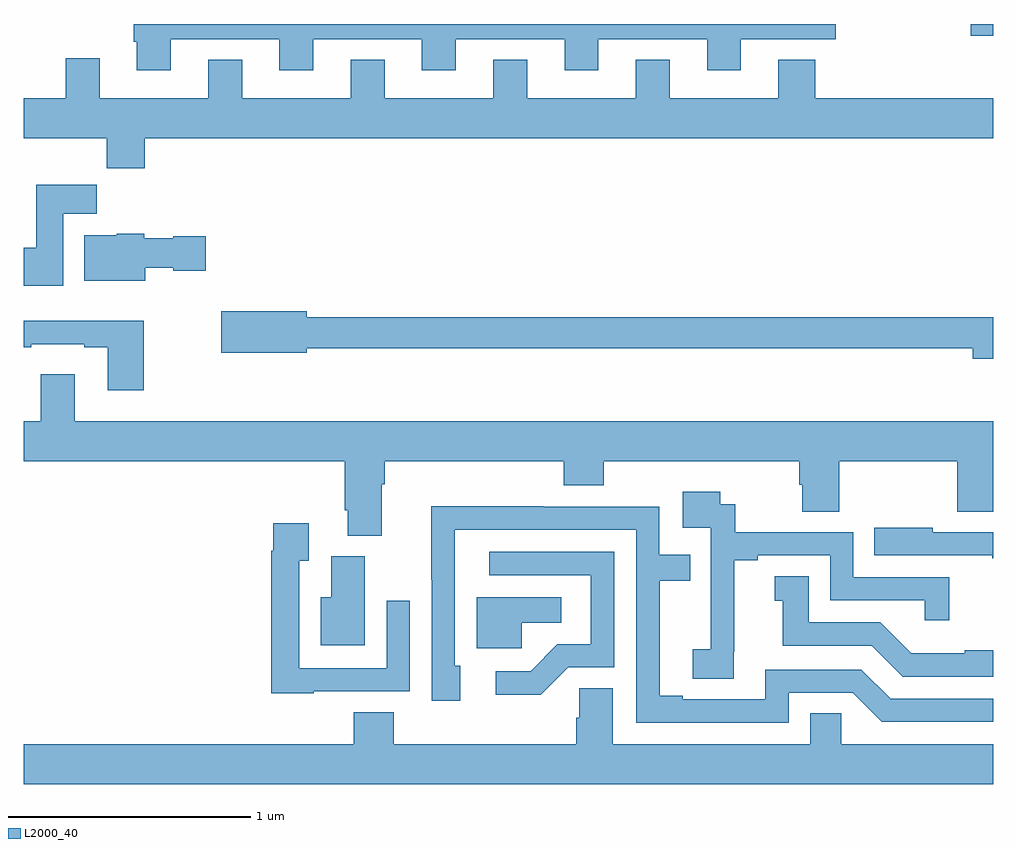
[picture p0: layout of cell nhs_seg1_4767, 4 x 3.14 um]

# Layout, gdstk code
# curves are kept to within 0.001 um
import gdstk
lib = gdstk.Library(unit=1e-6, precision=1e-09)
def R(c, l, rs):  # rectangles x0, y0, x1, y1
    for r in rs: c.add(gdstk.rectangle(r[:2], r[2:], *l))
def P(c, l, *ps):  # polygons
    for p in ps: c.add(gdstk.Polygon(p, *l))
L2000_40 = (2000, 40)

nhs_seg1_4767 = lib.new_cell('nhs_seg1_4767')
R(nhs_seg1_4767, L2000_40, [(372.906,556.151,373,556.199)])
P(nhs_seg1_4767, L2000_40, [(369.607,556.137),(370.055,556.137),(370.055,556.008),(370.195,556.008),(370.195,556.137),(370.643,556.137),(370.643,556.008),(370.783,556.008),(370.783,556.137),(371.231,556.137),(371.231,556.008),(371.371,556.008),(371.371,556.137),(371.819,556.137),(371.819,556.008),(371.959,556.008),(371.959,556.136),(372.349,556.136),(372.349,556.199),(369.455,556.199),(369.455,556.125),(369.467,556.125),(369.467,556.008),(369.607,556.008)],
  [(369.5,555.728),(373,555.728),(373,555.892),(372.266,555.892),(372.266,556.051),(372.113,556.051),(372.113,555.892),(371.665,555.892),(371.665,556.052),(371.525,556.052),(371.525,555.892),(371.077,555.892),(371.077,556.052),(370.937,556.052),(370.937,555.892),(370.489,555.892),(370.489,556.052),(370.349,556.052),(370.349,555.892),(369.901,555.892),(369.901,556.052),(369.761,556.052),(369.761,555.892),(369.313,555.892),(369.313,556.057),(369.173,556.057),(369.173,555.892),(369,555.892),(369,555.728),(369.343,555.728),(369.343,555.604),(369.5,555.604)],
  [(369.163,555.416),(369.302,555.416),(369.302,555.535),(369.053,555.535),(369.053,555.276),(369,555.276),(369,555.12),(369.163,555.12)],
  [(369.502,555.194),(369.618,555.194),(369.618,555.182),(369.751,555.182),(369.751,555.324),(369.618,555.324),(369.618,555.316),(369.498,555.316),(369.498,555.334),(369.384,555.334),(369.384,555.328),(369.251,555.328),(369.251,555.14),(369.502,555.14)],
  [(373,554.99),(370.168,554.99),(370.168,555.014),(369.816,555.014),(369.816,554.843),(370.168,554.843),(370.168,554.862),(372.914,554.862),(372.914,554.819),(373,554.819)],
  [(369.495,554.974),(369,554.974),(369,554.865),(369.031,554.865),(369.031,554.877),(369.251,554.877),(369.251,554.865),(369.347,554.865),(369.347,554.688),(369.495,554.688)],
  [(369.211,554.755),(369.071,554.755),(369.071,554.56),(369,554.56),(369,554.396),(370.325,554.396),(370.325,554.194),(370.337,554.194),(370.337,554.089),(370.477,554.089),(370.477,554.3),(370.49,554.3),(370.49,554.396),(371.228,554.396),(371.228,554.297),(371.393,554.297),(371.393,554.396),(372.2,554.396),(372.2,554.298),(372.212,554.298),(372.212,554.188),(372.365,554.188),(372.365,554.396),(372.851,554.396),(372.851,554.188),(373,554.188),(373,554.56),(369.211,554.56)],
  [(371.93,553.609),(371.932,553.609),(371.932,553.987),(372.028,553.987),(372.028,554.007),(372.327,554.007),(372.327,553.821),(372.717,553.821),(372.717,553.74),(372.818,553.74),(372.818,553.917),(372.423,553.917),(372.423,554.103),(371.936,554.103),(371.936,554.217),(371.874,554.217),(371.874,554.269),(371.718,554.269),(371.718,554.121),(371.835,554.121),(371.835,553.817),(371.834,553.817),(371.834,553.62),(371.76,553.62),(371.76,553.498),(371.93,553.498)],
  [(372.156,553.44),(372.42,553.44),(372.54,553.32),(373,553.32),(373,553.416),(372.576,553.416),(372.456,553.536),(372.06,553.536),(372.06,553.413),(371.719,553.413),(371.719,553.428),(371.623,553.428),(371.623,553.902),(371.75,553.902),(371.75,554.01),(371.622,554.01),(371.622,554.208),(371.144,554.208),(371.144,554.21),(370.682,554.21),(370.683,553.407),(370.801,553.407),(370.801,553.551),(370.779,553.551),(370.779,554.112),(371.526,554.112),(371.526,553.317),(372.156,553.317)],
  [(370.197,553.446),(370.593,553.446),(370.593,553.819),(370.497,553.819),(370.497,553.542),(370.137,553.542),(370.137,553.984),(370.177,553.984),(370.177,554.14),(370.029,554.14),(370.029,554.027),(370.021,554.027),(370.021,553.439),(370.197,553.439)],
  [(373,554.103),(372.751,554.103),(372.751,554.122),(372.508,554.122),(372.508,554.007),(372.995,554.007),(372.995,553.995),(373,553.995)],
  [(371.247,553.545),(371.436,553.545),(371.436,554.022),(370.92,554.022),(370.92,553.926),(371.34,553.926),(371.34,553.641),(371.202,553.641),(371.091,553.53),(370.947,553.53),(370.947,553.433),(371.134,553.433)],
  [(370.408,554.004),(370.268,554.004),(370.268,553.834),(370.226,553.834),(370.226,553.637),(370.408,553.637)],
  [(373,553.615),(372.881,553.615),(372.881,553.603),(372.662,553.603),(372.534,553.731),(372.238,553.731),(372.238,553.922),(372.098,553.922),(372.098,553.819),(372.131,553.819),(372.131,553.635),(372.498,553.635),(372.627,553.506),(373,553.506)],
  [(371.055,553.73),(371.218,553.73),(371.218,553.834),(370.868,553.834),(370.868,553.623),(371.055,553.623)],
  [(373,553.228),(372.372,553.228),(372.372,553.355),(372.245,553.355),(372.245,553.228),(371.431,553.228),(371.431,553.46),(371.292,553.46),(371.292,553.337),(371.279,553.337),(371.279,553.228),(370.526,553.228),(370.526,553.361),(370.361,553.361),(370.361,553.228),(369,553.228),(369,553.064),(373,553.064)])

lib.write_gds('nhs_seg1_4767.gds')
